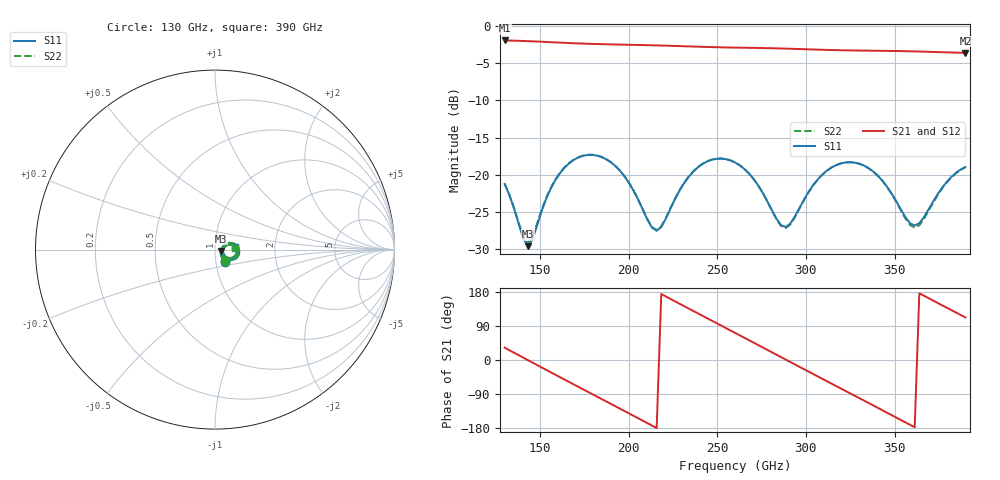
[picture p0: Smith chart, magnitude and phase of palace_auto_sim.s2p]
#  GHZ S DB R 50
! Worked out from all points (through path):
!   101 points, 130 GHz to 390 GHz, reference 50 ohm
!   highest |S21| = -1.92 dB at 130 GHz (marker M1); lowest = -3.6 dB at 390 GHz (marker M2)
!   group delay of S21, straight-line fit = 6.83 ps
!   lowest |S11| = -29.6 dB at 143 GHz (marker M3), VSWR 1.07, Z = 53.3 - j0.794 ohm
!   |S11| at or under -10 dB: start of sweep to end of sweep
!   |S22| runs from -29.2 to -17.3 dB; largest |S21 - S12| = 8.4e-14
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130  -21.22 -49.8  -1.92 32.6  -1.92 32.6  -21.20 -49.1
143  -29.61 -13.0  -2.01 0.0  -2.01 0.0  -29.21 -12.6
158.6  -20.73 24.6  -2.18 -38.8  -2.18 -38.8  -20.65 23.4
174.2  -17.45 0.4  -2.34 -77.2  -2.34 -77.2  -17.42 -0.5
182  -17.42 -13.2  -2.40 -96.3  -2.40 -96.3  -17.39 -14.0
192.4  -18.80 -29.7  -2.46 -121.8  -2.46 -121.8  -18.78 -30.4
205.4  -23.36 -38.7  -2.53 -153.9  -2.53 -153.9  -23.34 -39.3
213.2  -27.13 -20.0  -2.57 -173.2  -2.57 -173.2  -27.06 -20.5
218.4  -27.02 6.0  -2.61 174.0  -2.61 174.0  -26.93 5.2
228.8  -22.08 23.2  -2.68 148.3  -2.68 148.3  -22.03 22.1
241.8  -18.53 9.2  -2.78 116.3  -2.78 116.3  -18.50 8.1
260  -18.34 -19.9  -2.89 71.7  -2.89 71.7  -18.33 -21.1
275.6  -22.41 -35.8  -2.95 33.2  -2.95 33.2  -22.43 -37.3
288.6  -27.03 -5.3  -3.02 1.1  -3.02 1.1  -27.17 -6.5
304.2  -21.36 20.0  -3.14 -37.3  -3.14 -37.3  -21.39 19.2
314.6  -19.00 8.8  -3.21 -62.7  -3.21 -62.7  -19.01 7.8
325  -18.31 -6.5  -3.26 -88.1  -3.26 -88.1  -18.31 -7.7
335.4  -19.11 -21.7  -3.30 -113.5  -3.30 -113.5  -19.12 -23.1
348.4  -22.53 -32.9  -3.34 -145.5  -3.34 -145.5  -22.59 -34.8
361.4  -26.83 -5.8  -3.40 -177.5  -3.40 -177.5  -27.11 -7.2
374.4  -22.59 20.8  -3.49 150.5  -3.49 150.5  -22.71 20.5
390  -18.96 6.5  -3.59 112.4  -3.59 112.4  -18.99 5.7
